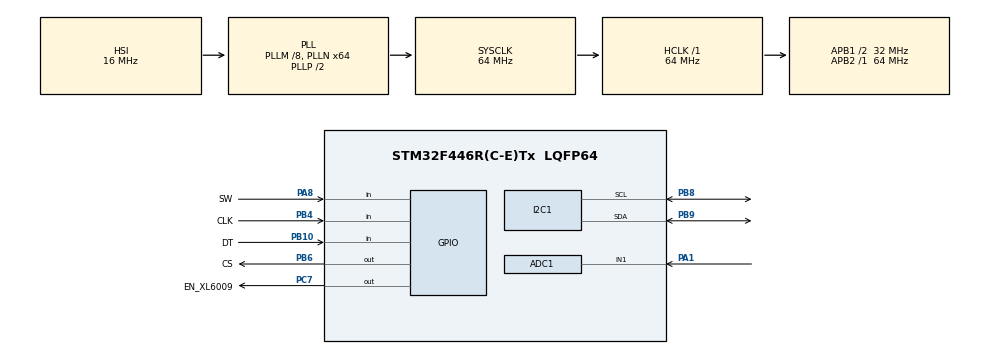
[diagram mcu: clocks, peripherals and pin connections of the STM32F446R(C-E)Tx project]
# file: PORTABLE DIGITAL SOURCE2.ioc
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ADC1.Channel-0\#ChannelRegularConversion=ADC_CHANNEL_1
ADC1.ContinuousConvMode=ENABLE
ADC1.InjNumberOfConversion=0
ADC1.NbrOfConversion=1
ADC1.NbrOfConversionFlag=1
ADC1.Rank-0\#ChannelRegularConversion=1
ADC1.SamplingTime-0\#ChannelRegularConversion=ADC_SAMPLETIME_3CYCLES
ADC1.ScanConvMode=ENABLE
ADC1.master=1
I2C1.I2C_Mode=I2C_Fast
Mcu.Family=STM32F4
Mcu.Name=STM32F446R(C-E)Tx
Mcu.Package=LQFP64
NVIC.PriorityGroup=NVIC_PRIORITYGROUP_4
NVIC.TIM6_DAC_IRQn=true\:0\:0\:false\:false\:true\:true\:true\:true
PA1.Signal=ADCx_IN1
PA8.GPIO_Label=SW
PA8.Signal=GPIO_Input
PB10.GPIO_Label=DT
PB10.Signal=GPIO_Input
PB4.GPIO_Label=CLK
PB4.Signal=GPIO_Input
PB6.GPIO_Label=CS
PB6.GPIO_Speed=GPIO_SPEED_FREQ_HIGH
PB6.PinState=GPIO_PIN_SET
PB6.Signal=GPIO_Output
PB8.Mode=I2C
PB8.Signal=I2C1_SCL
PB9.Mode=I2C
PB9.Signal=I2C1_SDA
PC7.GPIO_Label=EN_XL6009
PC7.Signal=GPIO_Output
ProjectManager.HeapSize=0x200
ProjectManager.StackSize=0x400
ProjectManager.TargetToolchain=STM32CubeIDE
RCC.AHBFreq_Value=64000000
RCC.APB1CLKDivider=RCC_HCLK_DIV2
RCC.APB1Freq_Value=32000000
RCC.APB1TimFreq_Value=64000000
RCC.APB2Freq_Value=64000000
RCC.APB2TimFreq_Value=64000000
RCC.CortexFreq_Value=64000000
RCC.HCLKFreq_Value=64000000
RCC.PLLM=8
RCC.PLLN=64
RCC.SYSCLKFreq_VALUE=64000000
RCC.SYSCLKSource=RCC_SYSCLKSOURCE_PLLCLK
RCC.USBFreq_Value=64000000
RCC.VCOOutputFreq_Value=128000000
SH.ADCx_IN1.0=ADC1_IN1,IN1
TIM6.Period=5-1
TIM6.Prescaler=64000-1
VP_TIM6_VS_ClockSourceINT.Mode=Enable_Timer
board=custom

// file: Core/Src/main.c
/* USER CODE BEGIN Header */
/**
  ******************************************************************************
  * @file           : main.c
  * @brief          : Main program body
  ******************************************************************************
  * @attention
  *
  * Copyright (c) 2022 STMicroelectronics.
  * All rights reserved.
  *
  * This software is licensed under terms that can be found in the LICENSE file
  * in the root directory of this software component.
  * If no LICENSE file comes with this software, it is provided AS-IS.
  *
  ******************************************************************************
  */
/* USER CODE END Header */
#include "main.h"

/* USER CODE BEGIN Includes */
#include "stdio.h"
#include "OLED_SSD1306.h"
#include "IMAGENES.h"
#include "ADS1115.h"
#include "ENCODER_ROT.h"
#include "FUNCION_MAP.h"
#include "MCP4725.h"

/* USER CODE END Includes */

ADC_HandleTypeDef hadc1;

I2C_HandleTypeDef hi2c1;

TIM_HandleTypeDef htim6;

/* USER CODE BEGIN PV */

float adc0;
char buff[16];
float out_voltage=0;
float in_voltage;
float corriente;
float potencia;
static float encoder;
float ENCO=0;
float PWM=0;
float difference;
uint8_t mem=0,suma=0;//variables para el pulsador del encoder
uint16_t contMillis=0;

float Vdac,VoutMath;
const float Vref=1.263;
const float R1=46.61;//47k
const float R2=4.69;//4.7k
const float R3=4.63;//4.7k
const float hysteresis = 0.2;
const uint8_t muestras=3;

/* USER CODE END PV */

void SystemClock_Config(void);
static void MX_GPIO_Init(void);
static void MX_I2C1_Init(void);
static void MX_TIM6_Init(void);
static void MX_ADC1_Init(void);
/* USER CODE BEGIN PFP */
void medirCorriente(void);
void medirPotencia(void);
void medirVoltBateria(void);
/* USER CODE END PFP */

int main(void)
{

  /* MCU Configuration--------------------------------------------------------*/

  /* Reset of all peripherals, Initializes the Flash interface and the Systick. */
  HAL_Init();

  /* Configure the system clock */
  SystemClock_Config();

  /* Initialize all configured peripherals */
  MX_GPIO_Init();
  MX_I2C1_Init();
  MX_TIM6_Init();
  MX_ADC1_Init();
  /* USER CODE BEGIN 2 */
  OLED_Init();
  HAL_TIM_Base_Start_IT(&htim6);

  OLED_Print_Text(2,104,1,"OFF");

  /* USER CODE END 2 */

  /* Infinite loop */
  /* USER CODE BEGIN WHILE */
  while (1){
	  //HAL_ADC_Start(&hadc1);
	  //HAL_ADC_PollForConversion(&hadc1, 100);
	  //adc0 = HAL_ADC_GetValue(&hadc1) * 3.3/4096;
	  //HAL_ADC_Stop(&hadc1);
	  //sprintf(buff,"%2.2fV",adc0);
	  //OLED_Print_Text(2,0,2,buff);

      if(!HAL_GPIO_ReadPin(SW_GPIO_Port, SW_Pin) && !mem){mem = 1;}
      if( HAL_GPIO_ReadPin(SW_GPIO_Port, SW_Pin) &&  mem){mem = 0; suma++;}
      if(suma==1){
          suma=2;  //cambio el contador para que solo haga una vez todo lo que esta dentro del if
          HAL_GPIO_WritePin(EN_XL6009_GPIO_Port, EN_XL6009_Pin, SET);
          OLED_Print_Text(2,104,1,"ON ");
      }
      if(suma==3){
          suma=0; //cambio el contador para que solo haga una vez todo lo que esta dentro del if
          HAL_GPIO_WritePin(EN_XL6009_GPIO_Port, EN_XL6009_Pin, RESET);
          OLED_Print_Text(2,104,1,"OFF");
      }

      sprintf(buff,"SET:%4.0f",PWM);
      OLED_Print_Text(1,70,1,buff);
      MCP4725_Out(encoder+ENCO);
      HAL_Delay(5);

      Vdac = encoder*3.338/4096;
      //sprintf(buff,"%1.3f",Vdac);
      //OLED_Print_Text(2,70,1,buff);

      VoutMath = Vref+(((Vref/R2)+((Vref-Vdac)/R3))*R1);
      sprintf(buff,"%2.2f",VoutMath);
      OLED_Print_Text(3,70,1,buff);

	  out_voltage   = ADS1115_Read(0)*0.00117127;
	  //sprintf(buff,"%2.2fV ",out_voltage);
	  //OLED_Print_Text(0,0,2,buff);

	  ////////////////////////////////////////////////////////////////////////////////
	  if(VoutMath > out_voltage){
		  difference = VoutMath - out_voltage;
		  if(difference>=0.001 && difference<=0.150){
			  ENCO=ENCO-1;
		  }else if(difference>0.150 && difference<=0.250){
			  ENCO=ENCO-2;
		  }else if(difference>0.250 && difference<=0.350){
			  ENCO=ENCO-3;
		  }else if(difference>0.350 && difference<=0.450){
			  ENCO=ENCO-4;
		  }else if(difference>0.450 && difference<=0.550){
			  ENCO=ENCO-5;
		  }else if(difference>0.550 && difference<=0.650){
			  ENCO=ENCO-6;
		  }
		  PWM = encoder+ENCO;
	  }

	  if(VoutMath < out_voltage){
		  difference = out_voltage - VoutMath;
		  if(difference>=0.001 && difference<=0.150){
			  ENCO=ENCO+1;
		  }else if(difference>0.150 && difference<=0.250){
			  ENCO=ENCO+2;
		  }else if(difference>0.250 && difference<=0.350){
			  ENCO=ENCO+3;
		  }else if(difference>0.350 && difference<=0.450){
			  ENCO=ENCO+4;
		  }else if(difference>0.450 && difference<=0.550){
			  ENCO=ENCO+5;
		  }else if(difference>0.550 && difference<=0.650){
			  ENCO=ENCO+6;
		  }
		  PWM = encoder+ENCO;
	  }
	  /////////////////////////////////////////////////////////////////////////////////////

	  if(contMillis>=90){//cada 120ms imprimo en el oled

		  difference = VoutMath - out_voltage;

		  if(difference>0){
			  if(difference>=0.01 && difference<=0.03){
				  sprintf(buff,"%2.2fV ",VoutMath);
				  OLED_Print_Text(0,0,2,buff);
			  }else if(difference>0.03 && difference<=0.06){
				  sprintf(buff,"%2.2fV ",VoutMath-0.01);
				  OLED_Print_Text(0,0,2,buff);
			  }else if(difference>0.06 && difference<=0.10){
				  sprintf(buff,"%2.2fV ",VoutMath-0.02);
				  OLED_Print_Text(0,0,2,buff);
			  }else if(difference>0.10 && difference<=0.15){
				  sprintf(buff,"%2.2fV ",VoutMath-0.03);
				  OLED_Print_Text(0,0,2,buff);
			  }else if(difference>0.15){
				  sprintf(buff,"%2.2fV ",out_voltage);
				  OLED_Print_Text(0,0,2,buff);
			  }

		  }else{
			  difference = difference*-1;
			  if(difference>=0.01 && difference<=0.03){
				  sprintf(buff,"%2.2fV ",VoutMath);
				  OLED_Print_Text(0,0,2,buff);
			  }else if(difference>0.03 && difference<=0.06){
				  sprintf(buff,"%2.2fV ",VoutMath+0.01);
				  OLED_Print_Text(0,0,2,buff);
			  }else if(difference>0.06 && difference<=0.10){
				  sprintf(buff,"%2.2fV ",VoutMath+0.02);
				  OLED_Print_Text(0,0,2,buff);
			  }else if(difference>0.10 && difference<=0.15){
				  sprintf(buff,"%2.2fV ",VoutMath+0.03);
				  OLED_Print_Text(0,0,2,buff);
			  }else if(difference>0.15){
				  sprintf(buff,"%2.2fV ",out_voltage);
				  OLED_Print_Text(0,0,2,buff);
			  }
		  }

		  //out_voltage   = ADS1115_Read(0)*0.00117127;
		  //sprintf(buff,"%2.2fV ",out_voltage);
		  //OLED_Print_Text(0,0,2,buff);

		  medirCorriente();
		  //medirPotencia();
		  medirVoltBateria();
		  //HAL_GPIO_TogglePin(LED_GPIO_Port, LED_Pin);
		  contMillis=0;
		}

	  //HAL_Delay(50);

    /* USER CODE END WHILE */

  }
}

void SystemClock_Config(void)
{
  RCC_OscInitTypeDef RCC_OscInitStruct = {0};
  RCC_ClkInitTypeDef RCC_ClkInitStruct = {0};

  /** Configure the main internal regulator output voltage
  */
  __HAL_RCC_PWR_CLK_ENABLE();
  __HAL_PWR_VOLTAGESCALING_CONFIG(PWR_REGULATOR_VOLTAGE_SCALE3);

  /** Initializes the RCC Oscillators according to the specified parameters
  * in the RCC_OscInitTypeDef structure.
  */
  RCC_OscInitStruct.OscillatorType = RCC_OSCILLATORTYPE_HSI;
  RCC_OscInitStruct.HSIState = RCC_HSI_ON;
  RCC_OscInitStruct.HSICalibrationValue = RCC_HSICALIBRATION_DEFAULT;
  RCC_OscInitStruct.PLL.PLLState = RCC_PLL_ON;
  RCC_OscInitStruct.PLL.PLLSource = RCC_PLLSOURCE_HSI;
  RCC_OscInitStruct.PLL.PLLM = 8;
  RCC_OscInitStruct.PLL.PLLN = 64;
  RCC_OscInitStruct.PLL.PLLP = RCC_PLLP_DIV2;
  RCC_OscInitStruct.PLL.PLLQ = 2;
  RCC_OscInitStruct.PLL.PLLR = 2;
  if (HAL_RCC_OscConfig(&RCC_OscInitStruct) != HAL_OK)
  {
    Error_Handler();
  }

  /** Initializes the CPU, AHB and APB buses clocks
  */
  RCC_ClkInitStruct.ClockType = RCC_CLOCKTYPE_HCLK|RCC_CLOCKTYPE_SYSCLK
                              |RCC_CLOCKTYPE_PCLK1|RCC_CLOCKTYPE_PCLK2;
  RCC_ClkInitStruct.SYSCLKSource = RCC_SYSCLKSOURCE_PLLCLK;
  RCC_ClkInitStruct.AHBCLKDivider = RCC_SYSCLK_DIV1;
  RCC_ClkInitStruct.APB1CLKDivider = RCC_HCLK_DIV2;
  RCC_ClkInitStruct.APB2CLKDivider = RCC_HCLK_DIV1;

  if (HAL_RCC_ClockConfig(&RCC_ClkInitStruct, FLASH_LATENCY_2) != HAL_OK)
  {
    Error_Handler();
  }
}

static void MX_ADC1_Init(void)
{

  ADC_ChannelConfTypeDef sConfig = {0};

  /** Configure the global features of the ADC (Clock, Resolution, Data Alignment and number of conversion)
  */
  hadc1.Instance = ADC1;
  hadc1.Init.ClockPrescaler = ADC_CLOCK_SYNC_PCLK_DIV2;
  hadc1.Init.Resolution = ADC_RESOLUTION_12B;
  hadc1.Init.ScanConvMode = ENABLE;
  hadc1.Init.ContinuousConvMode = ENABLE;
  hadc1.Init.DiscontinuousConvMode = DISABLE;
  hadc1.Init.ExternalTrigConvEdge = ADC_EXTERNALTRIGCONVEDGE_NONE;
  hadc1.Init.ExternalTrigConv = ADC_SOFTWARE_START;
  hadc1.Init.DataAlign = ADC_DATAALIGN_RIGHT;
  hadc1.Init.NbrOfConversion = 1;
  hadc1.Init.DMAContinuousRequests = DISABLE;
  hadc1.Init.EOCSelection = ADC_EOC_SINGLE_CONV;
  if (HAL_ADC_Init(&hadc1) != HAL_OK)
  {
    Error_Handler();
  }

  /** Configure for the selected ADC regular channel its corresponding rank in the sequencer and its sample time.
  */
  sConfig.Channel = ADC_CHANNEL_1;
  sConfig.Rank = 1;
  sConfig.SamplingTime = ADC_SAMPLETIME_3CYCLES;
  if (HAL_ADC_ConfigChannel(&hadc1, &sConfig) != HAL_OK)
  {
    Error_Handler();
  }

}

static void MX_I2C1_Init(void)
{

  hi2c1.Instance = I2C1;
  hi2c1.Init.ClockSpeed = 400000;
  hi2c1.Init.DutyCycle = I2C_DUTYCYCLE_2;
  hi2c1.Init.OwnAddress1 = 0;
  hi2c1.Init.AddressingMode = I2C_ADDRESSINGMODE_7BIT;
  hi2c1.Init.DualAddressMode = I2C_DUALADDRESS_DISABLE;
  hi2c1.Init.OwnAddress2 = 0;
  hi2c1.Init.GeneralCallMode = I2C_GENERALCALL_DISABLE;
  hi2c1.Init.NoStretchMode = I2C_NOSTRETCH_DISABLE;
  if (HAL_I2C_Init(&hi2c1) != HAL_OK)
  {
    Error_Handler();
  }

}

static void MX_TIM6_Init(void)
{

  TIM_MasterConfigTypeDef sMasterConfig = {0};

  htim6.Instance = TIM6;
  htim6.Init.Prescaler = 64000-1;
  htim6.Init.CounterMode = TIM_COUNTERMODE_UP;
  htim6.Init.Period = 5-1;
  htim6.Init.AutoReloadPreload = TIM_AUTORELOAD_PRELOAD_DISABLE;
  if (HAL_TIM_Base_Init(&htim6) != HAL_OK)
  {
    Error_Handler();
  }
  sMasterConfig.MasterOutputTrigger = TIM_TRGO_RESET;
  sMasterConfig.MasterSlaveMode = TIM_MASTERSLAVEMODE_DISABLE;
  if (HAL_TIMEx_MasterConfigSynchronization(&htim6, &sMasterConfig) != HAL_OK)
  {
    Error_Handler();
  }

}

static void MX_GPIO_Init(void)
{
  GPIO_InitTypeDef GPIO_InitStruct = {0};

  /* GPIO Ports Clock Enable */
  __HAL_RCC_GPIOA_CLK_ENABLE();
  __HAL_RCC_GPIOB_CLK_ENABLE();
  __HAL_RCC_GPIOC_CLK_ENABLE();

  /*Configure GPIO pin Output Level */
  HAL_GPIO_WritePin(EN_XL6009_GPIO_Port, EN_XL6009_Pin, GPIO_PIN_RESET);

  /*Configure GPIO pin Output Level */
  HAL_GPIO_WritePin(CS_GPIO_Port, CS_Pin, GPIO_PIN_SET);

  /*Configure GPIO pins : DT_Pin CLK_Pin */
  GPIO_InitStruct.Pin = DT_Pin|CLK_Pin;
  GPIO_InitStruct.Mode = GPIO_MODE_INPUT;
  GPIO_InitStruct.Pull = GPIO_NOPULL;
  HAL_GPIO_Init(GPIOB, &GPIO_InitStruct);

  /*Configure GPIO pin : EN_XL6009_Pin */
  GPIO_InitStruct.Pin = EN_XL6009_Pin;
  GPIO_InitStruct.Mode = GPIO_MODE_OUTPUT_PP;
  GPIO_InitStruct.Pull = GPIO_NOPULL;
  GPIO_InitStruct.Speed = GPIO_SPEED_FREQ_LOW;
  HAL_GPIO_Init(EN_XL6009_GPIO_Port, &GPIO_InitStruct);

  /*Configure GPIO pin : SW_Pin */
  GPIO_InitStruct.Pin = SW_Pin;
  GPIO_InitStruct.Mode = GPIO_MODE_INPUT;
  GPIO_InitStruct.Pull = GPIO_NOPULL;
  HAL_GPIO_Init(SW_GPIO_Port, &GPIO_InitStruct);

  /*Configure GPIO pin : CS_Pin */
  GPIO_InitStruct.Pin = CS_Pin;
  GPIO_InitStruct.Mode = GPIO_MODE_OUTPUT_PP;
  GPIO_InitStruct.Pull = GPIO_NOPULL;
  GPIO_InitStruct.Speed = GPIO_SPEED_FREQ_HIGH;
  HAL_GPIO_Init(CS_GPIO_Port, &GPIO_InitStruct);

}

/* USER CODE BEGIN 4 */
void HAL_TIM_PeriodElapsedCallback(TIM_HandleTypeDef *htim) {
	if (htim->Instance == TIM6) {//Leemos el encoder cada 5ms
		encoder = Encoder_Run();
		contMillis++;
	}
}

void medirCorriente(void){
  corriente = ADS1115_Read(1)*0.078125;
  if(corriente>=0){
	  sprintf(buff,"%4.0fmA",corriente);
	  OLED_Print_Text(2,0,2,buff);
  }else{
	  OLED_Print_Text(2,0,2,"   0mA");
  }
}

void medirPotencia(void){
  potencia  = out_voltage*corriente/1000;
  if(potencia>=0){
	  sprintf(buff,"%2.2fW",potencia);
	  OLED_Print_Text(2,70,2,buff);
  }else{
	  OLED_Print_Text(2,70,2,"0.00W ");
  }
}

void medirVoltBateria(void){
  in_voltage   = ADS1115_Read(2)*0.00049449;
  sprintf(buff,"VIN:%2.1fV",in_voltage);
  OLED_Print_Text(0,70,1,buff);
}
/* USER CODE END 4 */

void Error_Handler(void)
{
  __disable_irq();
  while (1)
  {
  }
}
